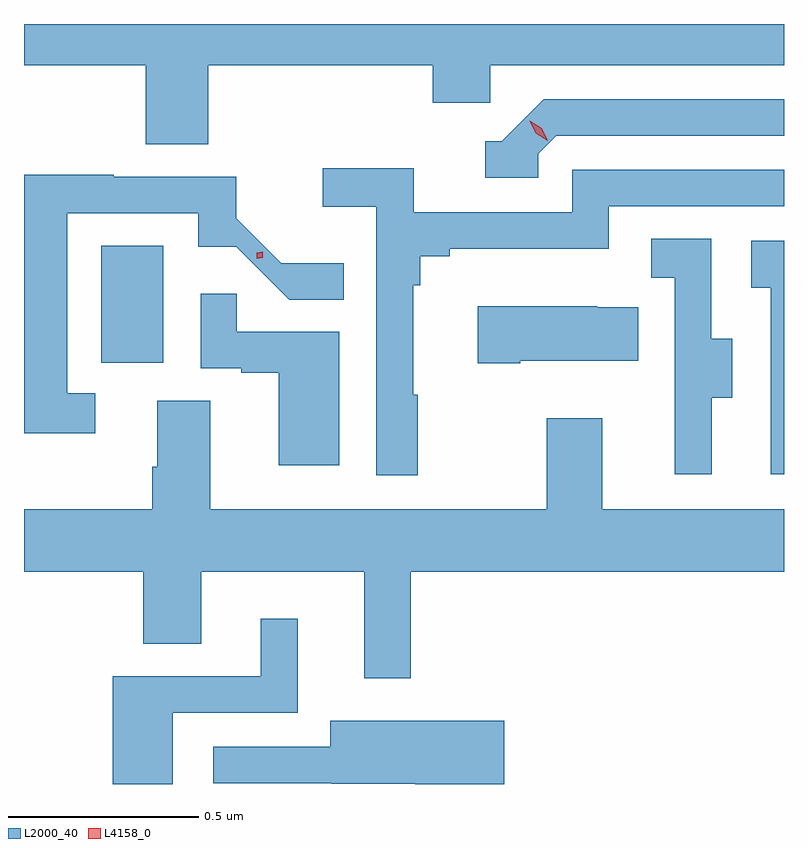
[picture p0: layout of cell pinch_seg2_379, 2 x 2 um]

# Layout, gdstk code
import gdstk
lib = gdstk.Library(unit=1e-6, precision=1e-09)
def R(c, l, rs):  # rectangles x0, y0, x1, y1
    for r in rs: c.add(gdstk.rectangle(r[:2], r[2:], *l))
def P(c, l, *ps):  # polygons
    for p in ps: c.add(gdstk.Polygon(p, *l))
L2000_40 = (2000, 40)
L4158_0 = (4158, 0)

pinch_seg2_379 = lib.new_cell('pinch_seg2_379')
R(pinch_seg2_379, L2000_40, [(995.6,612.222,995.764,612.529)])
P(pinch_seg2_379, L2000_40, [(995.882,613.004),(996.473,613.004),(996.473,612.906),(996.624,612.906),(996.624,613.004),(997.397,613.004),(997.397,613.113),(995.397,613.113),(995.397,613.004),(995.717,613.004),(995.717,612.796),(995.882,612.796)],
  [(996.75,612.771),(996.798,612.819),(997.397,612.819),(997.397,612.915),(996.765,612.915),(996.654,612.804),(996.611,612.804),(996.611,612.708),(996.75,612.708)],
  [(996.433,612.137),(996.421,612.137),(996.421,612.425),(996.44,612.425),(996.44,612.502),(996.517,612.502),(996.517,612.521),(996.936,612.521),(996.936,612.633),(997.397,612.633),(997.397,612.729),(996.84,612.729),(996.84,612.618),(996.422,612.618),(996.422,612.734),(996.183,612.734),(996.183,612.632),(996.324,612.632),(996.324,611.925),(996.433,611.925)],
  [(995.584,612.141),(995.511,612.141),(995.511,612.615),(995.856,612.615),(995.856,612.527),(995.956,612.527),(996.095,612.388),(996.239,612.388),(996.239,612.483),(996.074,612.483),(995.955,612.602),(995.955,612.711),(995.633,612.711),(995.633,612.716),(995.397,612.716),(995.397,612.036),(995.584,612.036)],
  [(997.207,612.13),(997.261,612.13),(997.261,612.285),(997.206,612.285),(997.206,612.548),(997.047,612.548),(997.047,612.445),(997.11,612.445),(997.11,612.141),(997.109,612.141),(997.109,611.928),(997.207,611.928)],
  [(997.397,612.543),(997.311,612.543),(997.311,612.419),(997.362,612.419),(997.362,611.928),(997.397,611.928)],
  [(996.226,612.303),(995.957,612.303),(995.957,612.403),(995.862,612.403),(995.862,612.207),(995.969,612.207),(995.969,612.195),(996.068,612.195),(996.068,611.952),(996.226,611.952)],
  [(996.703,612.227),(997.013,612.227),(997.013,612.367),(996.905,612.367),(996.905,612.37),(996.591,612.37),(996.591,612.22),(996.703,612.22)],
  [(996.415,611.672),(997.397,611.672),(997.397,611.836),(996.919,611.836),(996.919,612.076),(996.772,612.076),(996.772,611.836),(995.887,611.836),(995.887,612.122),(995.747,612.122),(995.747,611.948),(995.735,611.948),(995.735,611.836),(995.397,611.836),(995.397,611.672),(995.711,611.672),(995.711,611.482),(995.863,611.482),(995.863,611.672),(996.293,611.672),(996.293,611.391),(996.415,611.391)],
  [(995.788,611.301),(996.118,611.301),(996.118,611.548),(996.02,611.548),(996.02,611.397),(995.63,611.397),(995.63,611.113),(995.788,611.113)],
  [(996.661,611.28),(996.203,611.28),(996.203,611.211),(995.895,611.211),(995.895,611.115),(996.207,611.115),(996.207,611.114),(996.426,611.114),(996.426,611.113),(996.661,611.113)])
P(pinch_seg2_379, L4158_0, [(996.775,612.806),(996.744,612.826),(996.728,612.858),(996.728,612.858),(996.728,612.858),(996.759,612.839),(996.775,612.806),(996.775,612.806)],
  [(996.009,612.495),(996.009,612.496),(996.009,612.511),(996.024,612.514),(996.025,612.514),(996.025,612.514),(996.025,612.498),(996.01,612.495)])

lib.write_gds('pinch_seg2_379.gds')
